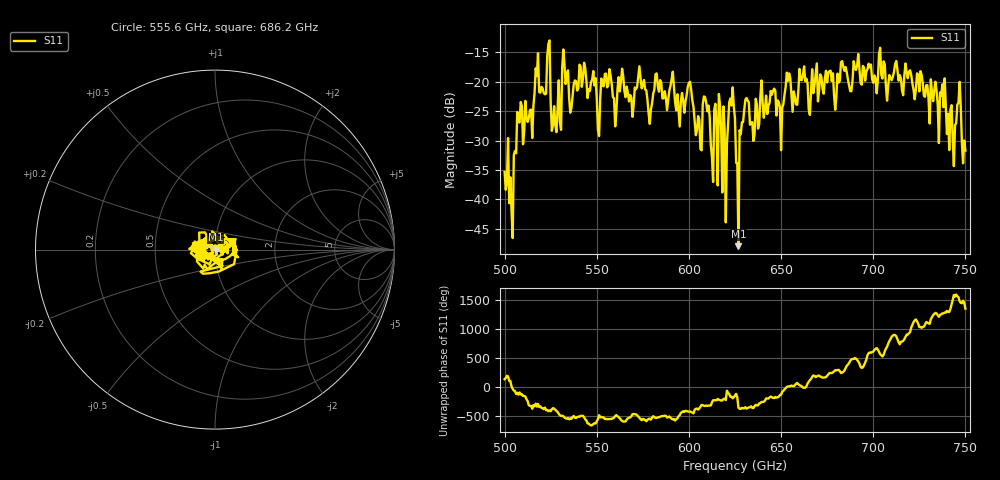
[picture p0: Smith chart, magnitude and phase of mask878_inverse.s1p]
!Created with skrf (http://scikit-rf.org).
# GHz S MA R 50.0
!freq magS11 angS11
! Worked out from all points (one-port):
!   401 points, 500 GHz to 750 GHz, reference 50 ohm
!   lowest |S11| = -48.0 dB at 626.9 GHz (marker M1), VSWR 1.01, Z = 50.4 + j0.000634 ohm
!   |S11| at or under -10 dB: start of sweep to end of sweep
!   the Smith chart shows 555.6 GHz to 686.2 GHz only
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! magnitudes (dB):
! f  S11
! 500 GHz  -35.3
! 503.8 GHz  -41.9
! 508.1 GHz  -26.9
! 513.8 GHz  -24.8
! 517.5 GHz  -19.0
! 523.8 GHz  -13.5
! 526.9 GHz  -24.1
! 531.2 GHz  -17.5
! 541.9 GHz  -20.8
! 551.2 GHz  -29.2
! 562.5 GHz  -21.6
! 593.8 GHz  -22.1
! 600.6 GHz  -20.0
! 605.6 GHz  -26.4
! 609.4 GHz  -23.5
! 619.4 GHz  -28.1
! 623.1 GHz  -24.0
! 625 GHz  -26.3
! 626.9 GHz  -48.0
! 631.2 GHz  -22.7
! 634.4 GHz  -26.9
! 656.2 GHz  -25.1
! 687.5 GHz  -21.6
! 718.8 GHz  -19.4
! 737.5 GHz  -20.4
! 742.5 GHz  -24.0
! 746.2 GHz  -23.6
! 750 GHz  -31.7
